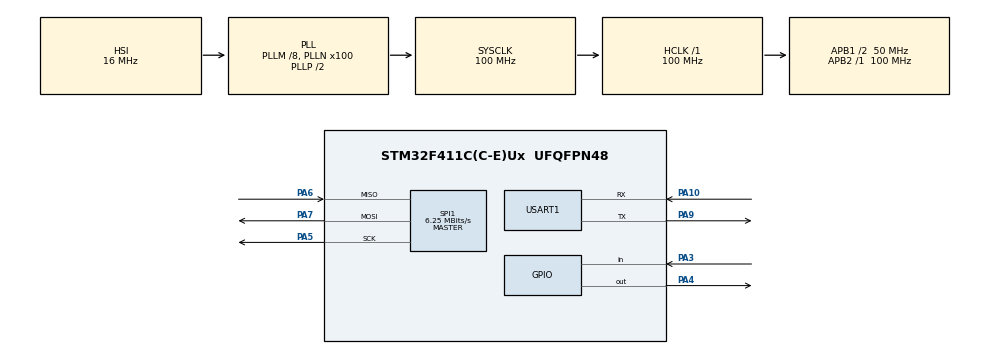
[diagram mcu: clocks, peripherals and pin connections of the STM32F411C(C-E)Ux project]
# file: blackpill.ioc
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Mcu.Family=STM32F4
Mcu.Name=STM32F411C(C-E)Ux
Mcu.Package=UFQFPN48
NVIC.PriorityGroup=NVIC_PRIORITYGROUP_4
PA10.Mode=Asynchronous
PA10.Signal=USART1_RX
PA3.GPIO_PuPd=GPIO_PULLUP
PA3.Signal=GPIO_Input
PA4.GPIO_ModeDefaultOutputPP=GPIO_MODE_OUTPUT_PP
PA4.PinState=GPIO_PIN_SET
PA4.Signal=GPIO_Output
PA5.Mode=Full_Duplex_Master
PA5.Signal=SPI1_SCK
PA6.Mode=Full_Duplex_Master
PA6.Signal=SPI1_MISO
PA7.Mode=Full_Duplex_Master
PA7.Signal=SPI1_MOSI
PA9.Mode=Asynchronous
PA9.Signal=USART1_TX
PH0\ -\ OSC_IN.Mode=HSE-External-Oscillator
PH0\ -\ OSC_IN.Signal=RCC_OSC_IN
PH1\ -\ OSC_OUT.Mode=HSE-External-Oscillator
PH1\ -\ OSC_OUT.Signal=RCC_OSC_OUT
ProjectManager.HeapSize=0x800
ProjectManager.StackSize=0x800
ProjectManager.TargetToolchain=STM32CubeIDE
RCC.48MHZClocksFreq_Value=50000000
RCC.AHBFreq_Value=100000000
RCC.APB1CLKDivider=RCC_HCLK_DIV2
RCC.APB1Freq_Value=50000000
RCC.APB1TimFreq_Value=100000000
RCC.APB2Freq_Value=100000000
RCC.APB2TimFreq_Value=100000000
RCC.CortexFreq_Value=100000000
RCC.HCLKFreq_Value=100000000
RCC.HSE_VALUE=25000000
RCC.HSI_VALUE=16000000
RCC.LSE_VALUE=32768
RCC.PLLM=8
RCC.PLLN=100
RCC.SYSCLKFreq_VALUE=100000000
RCC.SYSCLKSource=RCC_SYSCLKSOURCE_PLLCLK
RCC.VCOOutputFreq_Value=200000000
SPI1.BaudRatePrescaler=SPI_BAUDRATEPRESCALER_16
SPI1.CalculateBaudRate=6.25 MBits/s
SPI1.Direction=SPI_DIRECTION_2LINES
SPI1.Mode=SPI_MODE_MASTER
SPI1.VirtualType=VM_MASTER
STMicroelectronics.X-CUBE-AI.10.2.0.ActivationBufferSizeList=2180
STMicroelectronics.X-CUBE-AI.10.2.0.ActivationBuffers=pool0
STMicroelectronics.X-CUBE-AI.10.2.0.ActivationNames=pool0
STMicroelectronics.X-CUBE-AI.10.2.0.ActivationSizes=AI_NETWORK_DATA_ACTIVATION_1_SIZE
STMicroelectronics.X-CUBE-AI.10.2.0.HeapSize=0x800
STMicroelectronics.X-CUBE-AI.10.2.0.InternalRamActivationBufferMaxSize=AI_NETWORK_DATA_ACTIVATIONS_SIZE
STMicroelectronics.X-CUBE-AI.10.2.0.LatestDirectoryUsed-9114a03bcacf8e4c642c7f70ddf96cea27a6fad36964d78add9c33030f05d350=D\:\\Users\\Admin\\Downloads
STMicroelectronics.X-CUBE-AI.10.2.0.MaximumNumberOfInputLayer=1
STMicroelectronics.X-CUBE-AI.10.2.0.MaximumNumberOfOutputLayer=1
STMicroelectronics.X-CUBE-AI.10.2.0.MaximumSizeOfInputLayer=1
STMicroelectronics.X-CUBE-AI.10.2.0.MaximumSizeOfOutputLayer=1
STMicroelectronics.X-CUBE-AI.10.2.0.ModelActualCompression-9114a03bcacf8e4c642c7f70ddf96cea27a6fad36964d78add9c33030f05d350=0.0
STMicroelectronics.X-CUBE-AI.10.2.0.ModelCompression-9114a03bcacf8e4c642c7f70ddf96cea27a6fad36964d78add9c33030f05d350=None
STMicroelectronics.X-CUBE-AI.10.2.0.ModelFlashOccupation-9114a03bcacf8e4c642c7f70ddf96cea27a6fad36964d78add9c33030f05d350=14608
STMicroelectronics.X-CUBE-AI.10.2.0.ModelHashList=9114a03bcacf8e4c642c7f70ddf96cea27a6fad36964d78add9c33030f05d350
STMicroelectronics.X-CUBE-AI.10.2.0.ModelKind-9114a03bcacf8e4c642c7f70ddf96cea27a6fad36964d78add9c33030f05d350=TFLITE
STMicroelectronics.X-CUBE-AI.10.2.0.ModelMacc-9114a03bcacf8e4c642c7f70ddf96cea27a6fad36964d78add9c33030f05d350=1024
STMicroelectronics.X-CUBE-AI.10.2.0.ModelName-9114a03bcacf8e4c642c7f70ddf96cea27a6fad36964d78add9c33030f05d350=network
STMicroelectronics.X-CUBE-AI.10.2.0.ModelNameList=network
STMicroelectronics.X-CUBE-AI.10.2.0.ModelRamOccupation-9114a03bcacf8e4c642c7f70ddf96cea27a6fad36964d78add9c33030f05d350=2180
STMicroelectronics.X-CUBE-AI.10.2.0.ModelStructureFile-9114a03bcacf8e4c642c7f70ddf96cea27a6fad36964d78add9c33030f05d350=D\:\\Users\\Admin\\Downloads\\model_ids_v4_delta.tflite
STMicroelectronics.X-CUBE-AI.10.2.0.ModelType-9114a03bcacf8e4c642c7f70ddf96cea27a6fad36964d78add9c33030f05d350=STM32Cube.AI MCU runtime
STMicroelectronics.X-CUBE-AI.10.2.0.ReadyForCodeGeneration=true
STMicroelectronics.X-CUBE-AI.10.2.0.StackSize=0x800
STMicroelectronics.X-CUBE-AI.10.2.0.WorkingBufferStartAddrList=0xFFFFFFFF
STMicroelectronics.X-CUBE-AI.10.2.0.XAaCUBEAaAICcArtificialOoIntelligenceJjCore=true
STMicroelectronics.X-CUBE-AI.10.2.0.copyWeightToRam=false
STMicroelectronics.X-CUBE-AI.10.2.0.customLayerConfigEnabled=false
STMicroelectronics.X-CUBE-AI.10.2.0.noOnnxIoTranspose=false
STMicroelectronics.X-CUBE-AI.10.2.0.useInputAllocation=true
STMicroelectronics.X-CUBE-AI.10.2.0.useOutputAllocation=true
USART1.VirtualMode=VM_ASYNC
VP_STMicroelectronics.X-CUBE-AI_VS_ArtificialOoIntelligenceJjXAaCUBEAaAI_10.2.0.Mode=ArtificialOoIntelligenceJjXAaCUBEAaAI
board=custom

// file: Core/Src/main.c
/* USER CODE BEGIN Header */
/**
  ******************************************************************************
  * @file           : main.c
  * @brief          : Main program body
  ******************************************************************************
  */
/* USER CODE END Header */
#include "main.h"

/* USER CODE BEGIN Includes */
#include <stdio.h>
#include <string.h>
#include "MCP2515.h"
#include "ai_platform.h"     // Lõi AI
#include "network.h"         // Kiến trúc mạng
#include "network_data.h"    // Trọng số
/* USER CODE END Includes */

SPI_HandleTypeDef hspi1;

UART_HandleTypeDef huart1;

/* USER CODE BEGIN PV */
char msg[100];

// ---- BIẾN CHO AI ----
ai_handle network;
ai_u8 activations[AI_NETWORK_DATA_ACTIVATIONS_SIZE];
ai_float in_data[AI_NETWORK_IN_1_SIZE];
ai_float out_data[AI_NETWORK_OUT_1_SIZE];
ai_buffer *ai_input;
ai_buffer *ai_output;

// Đã trích xuất chính xác từ file Dataset của bạn (Thuật toán MinMaxScaler)
const float data_min[10] = {0.000000f, 0.000000f, 0.000000f, 0.000000f, 0.000000f, 0.000000f, 0.000000f, 0.000000f, 0.000000f, 0.000000f};
const float data_range[10] = {1000.000000f, 255.000000f, 255.000000f, 255.000000f, 255.000000f, 255.000000f, 255.000000f, 255.000000f, 255.000000f, 6743.000000f};

uint32_t last_msg_time = 0;
/* USER CODE END PV */

void SystemClock_Config(void);
static void MX_GPIO_Init(void);
static void MX_SPI1_Init(void);
static void MX_USART1_UART_Init(void);

int main(void)
{

  /* MCU Configuration--------------------------------------------------------*/

  /* Reset of all peripherals, Initializes the Flash interface and the Systick. */
  HAL_Init();

  /* Configure the system clock */
  SystemClock_Config();

  /* Initialize all configured peripherals */
  MX_GPIO_Init();
  MX_SPI1_Init();
  MX_USART1_UART_Init();
  /* USER CODE BEGIN 2 */

      // 1. Khởi tạo SPI và cấu hình MCP2515
      MCP2515_Initialize();
      MCP2515_SetConfigMode();

      // 2. Cấu hình Baudrate 500kbps
      MCP2515_WriteByte(MCP2515_CNF1, 0x00);
      MCP2515_WriteByte(MCP2515_CNF2, 0x90);
      MCP2515_WriteByte(MCP2515_CNF3, 0x02);

      // 3. Tắt màng lọc & Bật ngắt
      MCP2515_WriteByte(MCP2515_RXB0CTRL, 0x60);
      MCP2515_WriteByte(MCP2515_CANINTE, 0x01);

      // 4. Chuyển sang chế độ chạy bình thường
      MCP2515_SetNormalMode();
      HAL_UART_Transmit(&huart1, (uint8_t *)"Node B Ready!\r\n", 15, 100);

      // ---- KHỞI TẠO AI ----
      ai_error err;
      err = ai_network_create(&network, AI_NETWORK_DATA_CONFIG);
      if (err.type != AI_ERROR_NONE) {
          HAL_UART_Transmit(&huart1, (uint8_t *)"AI Init FAILED!\r\n", 17, 100);
          while(1);
      }

      ai_network_params params = {
    		   {
                    AI_NETWORK_DATA_WEIGHTS(ai_network_data_weights_get()),
                    AI_NETWORK_DATA_ACTIVATIONS(activations)
                }
            };
      ai_network_init(network, &params);
      HAL_UART_Transmit(&huart1, (uint8_t *)"AI Core Started!\r\n", 18, 100);

      last_msg_time = HAL_GetTick(); // Bắt đầu bấm giờ
      // ---------------------------------------

  /* USER CODE END 2 */

  /* Infinite loop */
  while (1)
  {

    /* USER CODE BEGIN 3 */

	      // Kiểm tra chân ngắt PA3
	      if (HAL_GPIO_ReadPin(GPIOA, GPIO_PIN_3) == GPIO_PIN_RESET)
	      {
	          uint8_t rx_status = MCP2515_GetRxStatus();

	          if (rx_status & 0x40) // Nếu có tin ở RXB0
	          {
	              uint8_t rx_reg[13];
	              MCP2515_ReadRxSequence(MCP2515_READ_RXB0SIDH, rx_reg, 13);

	              uint32_t can_id = (rx_reg[0] << 3) | (rx_reg[1] >> 5);

	              // 1. Tính Delta_Time (Để cập nhật last_msg_time, tránh sai số cho gói sau)
	                          uint32_t current_time = HAL_GetTick();
	                          last_msg_time = current_time;

	                          // 2. Gom ĐÚNG 9 đặc trưng (ID, Data0 -> Data7)
	                          float raw_input[9] = {
	                              (float)can_id,
	                              (float)rx_reg[5], (float)rx_reg[6], (float)rx_reg[7], (float)rx_reg[8],
	                              (float)rx_reg[9], (float)rx_reg[10], (float)rx_reg[11], (float)rx_reg[12]
	                          };

	                          // 3. Chuẩn hóa 9 phần tử
	                          for(int i = 0; i < 9; i++) {
	                              if (data_range[i] != 0.0f) {
	                                  in_data[i] = (raw_input[i] - data_min[i]) / data_range[i];
	                              } else {
	                                  in_data[i] = 0.0f;
	                              }
	                          }

	                          // 4. CHẠY AI DỰ ĐOÁN (BỔ SUNG 2 DÒNG LẤY BUFFER DƯỚI ĐÂY)
	                          	              ai_input = ai_network_inputs_get(network, NULL);   // <--- THÊM DÒNG NÀY
	                          	              ai_output = ai_network_outputs_get(network, NULL); // <--- THÊM DÒNG NÀY

	                          	              ai_input[0].data = AI_HANDLE_PTR(in_data);
	                          	              ai_output[0].data = AI_HANDLE_PTR(out_data);
	                          	              ai_network_run(network, &ai_input[0], &ai_output[0]);

	                          	              // 5. Tìm nhãn có xác suất cao nhất
	                          	              int ai_predict = 0;
	                          	              float max_prob = out_data[0];
	                          	              for(int i = 1; i < 3; i++) {
	                          	                  if(out_data[i] > max_prob) {
	                          	                      max_prob = out_data[i];
	                          	                      ai_predict = i;
	                          	                  }
	                          	              }

	                          	              // 6. Hiển thị nhãn khớp với nhãn Python mới
	                          	              char *attack_name = "UNKNOWN";
	                          	              if(ai_predict == 0) attack_name = "DoS ATTACK";
	                          	              else if(ai_predict == 1) attack_name = "NORMAL";     // Sửa lại cho đẹp chuỗi in
	                          	              else if(ai_predict == 2) attack_name = "SPOOFING";

	                          	              sprintf(msg, "ID:0x%lX | %s | Prob:%d%%\r\n",
	                          	                      (unsigned long)can_id, attack_name, (int)(max_prob * 100));
	                          	              HAL_UART_Transmit(&huart1, (uint8_t *)msg, strlen(msg), 100);

	                          	              // Xóa cờ ngắt để nhận tin tiếp theo
	                          	              MCP2515_BitModify(MCP2515_CANINTF, 0x01, 0x00);

  /* USER CODE END 3 */
}
	      }
  }
}

void SystemClock_Config(void)
{
  RCC_OscInitTypeDef RCC_OscInitStruct = {0};
  RCC_ClkInitTypeDef RCC_ClkInitStruct = {0};

  /** Configure the main internal regulator output voltage
  */
  __HAL_RCC_PWR_CLK_ENABLE();
  __HAL_PWR_VOLTAGESCALING_CONFIG(PWR_REGULATOR_VOLTAGE_SCALE1);

  /** Initializes the RCC Oscillators according to the specified parameters
  * in the RCC_OscInitTypeDef structure.
  */
  RCC_OscInitStruct.OscillatorType = RCC_OSCILLATORTYPE_HSI;
  RCC_OscInitStruct.HSIState = RCC_HSI_ON;
  RCC_OscInitStruct.HSICalibrationValue = RCC_HSICALIBRATION_DEFAULT;
  RCC_OscInitStruct.PLL.PLLState = RCC_PLL_ON;
  RCC_OscInitStruct.PLL.PLLSource = RCC_PLLSOURCE_HSI;
  RCC_OscInitStruct.PLL.PLLM = 8;
  RCC_OscInitStruct.PLL.PLLN = 100;
  RCC_OscInitStruct.PLL.PLLP = RCC_PLLP_DIV2;
  RCC_OscInitStruct.PLL.PLLQ = 4;
  if (HAL_RCC_OscConfig(&RCC_OscInitStruct) != HAL_OK)
  {
    Error_Handler();
  }

  /** Initializes the CPU, AHB and APB buses clocks
  */
  RCC_ClkInitStruct.ClockType = RCC_CLOCKTYPE_HCLK|RCC_CLOCKTYPE_SYSCLK
                              |RCC_CLOCKTYPE_PCLK1|RCC_CLOCKTYPE_PCLK2;
  RCC_ClkInitStruct.SYSCLKSource = RCC_SYSCLKSOURCE_PLLCLK;
  RCC_ClkInitStruct.AHBCLKDivider = RCC_SYSCLK_DIV1;
  RCC_ClkInitStruct.APB1CLKDivider = RCC_HCLK_DIV2;
  RCC_ClkInitStruct.APB2CLKDivider = RCC_HCLK_DIV1;

  if (HAL_RCC_ClockConfig(&RCC_ClkInitStruct, FLASH_LATENCY_3) != HAL_OK)
  {
    Error_Handler();
  }
}

static void MX_SPI1_Init(void)
{

  /* SPI1 parameter configuration*/
  hspi1.Instance = SPI1;
  hspi1.Init.Mode = SPI_MODE_MASTER;
  hspi1.Init.Direction = SPI_DIRECTION_2LINES;
  hspi1.Init.DataSize = SPI_DATASIZE_8BIT;
  hspi1.Init.CLKPolarity = SPI_POLARITY_LOW;
  hspi1.Init.CLKPhase = SPI_PHASE_1EDGE;
  hspi1.Init.NSS = SPI_NSS_SOFT;
  hspi1.Init.BaudRatePrescaler = SPI_BAUDRATEPRESCALER_16;
  hspi1.Init.FirstBit = SPI_FIRSTBIT_MSB;
  hspi1.Init.TIMode = SPI_TIMODE_DISABLE;
  hspi1.Init.CRCCalculation = SPI_CRCCALCULATION_DISABLE;
  hspi1.Init.CRCPolynomial = 10;
  if (HAL_SPI_Init(&hspi1) != HAL_OK)
  {
    Error_Handler();
  }

}

static void MX_USART1_UART_Init(void)
{

  huart1.Instance = USART1;
  huart1.Init.BaudRate = 115200;
  huart1.Init.WordLength = UART_WORDLENGTH_8B;
  huart1.Init.StopBits = UART_STOPBITS_1;
  huart1.Init.Parity = UART_PARITY_NONE;
  huart1.Init.Mode = UART_MODE_TX_RX;
  huart1.Init.HwFlowCtl = UART_HWCONTROL_NONE;
  huart1.Init.OverSampling = UART_OVERSAMPLING_16;
  if (HAL_UART_Init(&huart1) != HAL_OK)
  {
    Error_Handler();
  }

}

static void MX_GPIO_Init(void)
{
  GPIO_InitTypeDef GPIO_InitStruct = {0};

  /* GPIO Ports Clock Enable */
  __HAL_RCC_GPIOH_CLK_ENABLE();
  __HAL_RCC_GPIOA_CLK_ENABLE();

  /*Configure GPIO pin Output Level */
  HAL_GPIO_WritePin(GPIOA, GPIO_PIN_4, GPIO_PIN_SET);

  /*Configure GPIO pin : PA3 */
  GPIO_InitStruct.Pin = GPIO_PIN_3;
  GPIO_InitStruct.Mode = GPIO_MODE_INPUT;
  GPIO_InitStruct.Pull = GPIO_PULLUP;
  HAL_GPIO_Init(GPIOA, &GPIO_InitStruct);

  /*Configure GPIO pin : PA4 */
  GPIO_InitStruct.Pin = GPIO_PIN_4;
  GPIO_InitStruct.Mode = GPIO_MODE_OUTPUT_PP;
  GPIO_InitStruct.Pull = GPIO_NOPULL;
  GPIO_InitStruct.Speed = GPIO_SPEED_FREQ_LOW;
  HAL_GPIO_Init(GPIOA, &GPIO_InitStruct);

}

void Error_Handler(void)
{
  __disable_irq();
  while (1)
  {
  }
}
